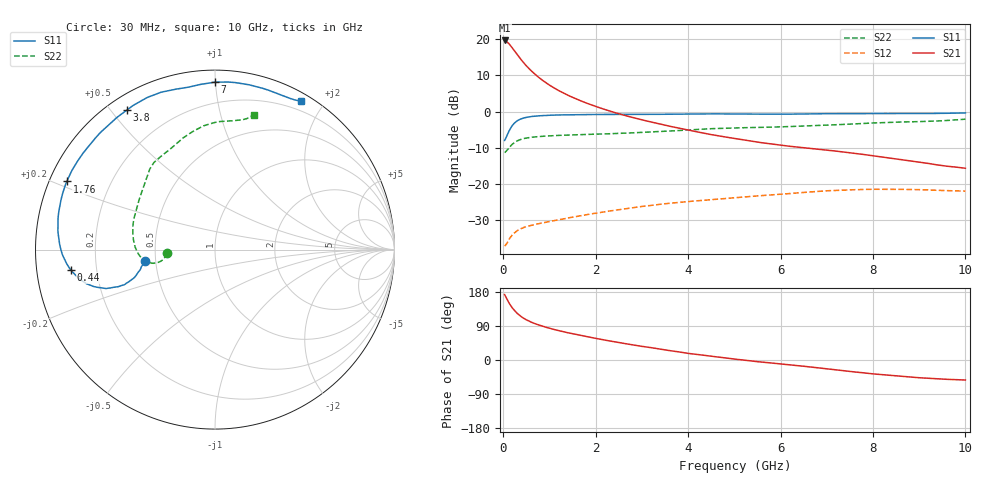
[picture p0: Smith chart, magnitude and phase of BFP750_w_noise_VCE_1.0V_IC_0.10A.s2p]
! Infineon Technologies  Discrete & RF Semiconductors
! BFP750
! VCE =  1.0 V,  IC = 0.10 A
! Common Emitter S-Parameters:  Jan 2016
# GHz  S  MA  R  50
!  f  S11  S21  S12  S22
! GHz  MAG  ANG  MAG  ANG  MAG  ANG  MAG  ANG
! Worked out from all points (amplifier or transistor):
!   229 points, 30 MHz to 10 GHz, reference 50 ohm
!   highest |S21| = 19.7 dB at 30 MHz (marker M1)
!   |S21| within 3 dB of that: start of sweep to 250.6 MHz
!   unconditionally stable (mu >= 1): start of sweep to end of sweep
!   at 280 MHz: K = 1.67, MAG = 20.0 dB, |S12| = -33.3 dB
!   at 1.78 GHz: K = 1.70, MAG = 10.7 dB, |S12| = -28.7 dB
!   at 10 GHz: K = 1.96, MAG = -2.4 dB, |S12| = -22.1 dB
!   lowest NFmin = 1.57 dB at 450 MHz
!   S11 on the Smith chart (normalised r, x): 30 MHz: 0.43, -0.06; 440 MHz: 0.10, -0.07; 1.76 GHz: 0.05, +0.22; 3.8 GHz: 0.05, +0.55; 7 GHz: 0.07, +1.00; 10 GHz: 0.09, +1.73
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0.03  0.3968 -170.9  9.691 172.6  0.0135 8.2  0.2695 -175.9
0.07  0.4467 -163.5  9.383 162.6  0.0144 15.2  0.2834 -171.1
0.11  0.5098 -159.6  8.937 153.8  0.0161 19.7  0.3045 -168.2
0.15  0.5744 -159.0  8.359 145.7  0.0177 22.0  0.3269 -167.3
0.2  0.6439 -160.3  7.579 136.9  0.0195 23.2  0.3526 -167.5
0.24  0.6874 -162.2  7.005 131.1  0.0206 23.4  0.3695 -168.6
0.3  0.7418 -165.2  6.202 123.3  0.0221 23.3  0.3904 -170.5
0.36  0.7778 -168.3  5.522 117.2  0.0233 22.9  0.4056 -172.4
0.44  0.8115 -172.0  4.774 110.3  0.0245 22.6  0.42 -175.1
0.6  0.8513 -178.2  3.701 100.1  0.0262 22.5  0.4381 -179.6
0.8  0.8735 175.7  2.862 90.9  0.028 23.2  0.4503 176.0
1.2  0.8956 166.3  1.951 77.5  0.0314 24.9  0.466 169.1
1.7  0.9083 156.4  1.388 64.3  0.0359 26.2  0.4792 162.0
1.76  0.9086 155.3  1.34 62.8  0.0365 26.3  0.4803 161.2
2.44  0.9104 143.3  0.955 47.4  0.0428 25.4  0.4947 151.6
3.4  0.9147 128.1  0.668 28.6  0.0515 21.5  0.5268 139.5
3.8  0.9194 122.3  0.587 21.4  0.0547 19.2  0.5444 135.2
5.1  0.9249 107.8  0.413 1.2  0.0643 12.0  0.5939 124.0
6.8  0.9286 92.0  0.3 -20.5  0.0776 -0.2  0.6394 107.4
7  0.933 90.0  0.292 -23.3  0.0793 -1.9  0.6471 105.9
8.4  0.937 73.6  0.224 -40.9  0.0832 -16.0  0.7081 90.2
10  0.9551 59.9  0.163 -52.8  0.0784 -27.8  0.7819 73.8
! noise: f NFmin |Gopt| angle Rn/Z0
0.45  1.57  0.34  -169  0.3
0.9  1.58  0.42  -164  0.15
1.5  1.6  0.52  -154  0.09
1.9  1.6  0.53  -148  0.1
2.4  1.6  0.53  -141  0.13
3.5  1.86  0.53  -124  0.19
